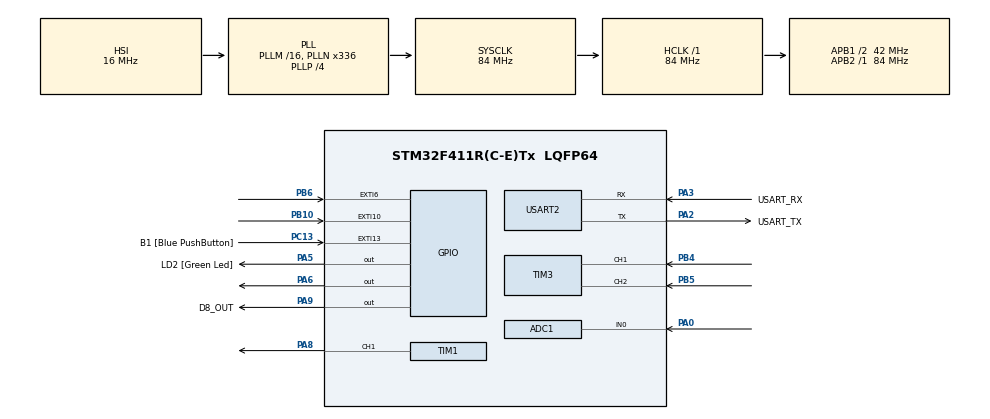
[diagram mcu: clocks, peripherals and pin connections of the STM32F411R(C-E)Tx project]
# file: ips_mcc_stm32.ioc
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ADC1.Channel-1\#ChannelRegularConversion=ADC_CHANNEL_0
ADC1.NbrOfConversionFlag=1
ADC1.Rank-1\#ChannelRegularConversion=1
ADC1.SamplingTime-1\#ChannelRegularConversion=ADC_SAMPLETIME_3CYCLES
ADC1.master=1
Mcu.Family=STM32F4
Mcu.Name=STM32F411R(C-E)Tx
Mcu.Package=LQFP64
NVIC.EXTI15_10_IRQn=true\:0\:0\:false\:false\:true\:true\:true\:true
NVIC.EXTI9_5_IRQn=true\:0\:0\:false\:false\:true\:true\:true\:true
NVIC.PriorityGroup=NVIC_PRIORITYGROUP_0
NVIC.TIM2_IRQn=true\:0\:0\:false\:false\:true\:true\:true\:true
NVIC.TIM4_IRQn=true\:0\:0\:false\:false\:true\:true\:true\:true
NVIC.USART2_IRQn=true\:0\:0\:false\:false\:true\:true\:true\:true
PA0-WKUP.Signal=ADCx_IN0
PA13.GPIO_Label=TMS
PA13.Mode=Serial_Wire
PA13.Signal=SYS_JTMS-SWDIO
PA14.GPIO_Label=TCK
PA14.Mode=Serial_Wire
PA14.Signal=SYS_JTCK-SWCLK
PA2.GPIO_Label=USART_TX
PA2.Mode=Asynchronous
PA2.Signal=USART2_TX
PA3.GPIO_Label=USART_RX
PA3.Mode=Asynchronous
PA3.Signal=USART2_RX
PA5.GPIO_Label=LD2 [Green Led]
PA5.Signal=GPIO_Output
PA6.Signal=GPIO_Output
PA8.Signal=S_TIM1_CH1
PA9.GPIO_Label=D8_OUT
PA9.Signal=GPIO_Output
PB10.GPIO_PuPd=GPIO_PULLUP
PB10.Signal=GPXTI10
PB3.GPIO_Label=SWO
PB3.Signal=SYS_JTDO-SWO
PB4.Signal=S_TIM3_CH1
PB5.Signal=S_TIM3_CH2
PB6.Signal=GPXTI6
PB7.Signal=S_TIM4_CH2
PC13-ANTI_TAMP.GPIO_Label=B1 [Blue PushButton]
PC13-ANTI_TAMP.GPIO_ModeDefaultEXTI=GPIO_MODE_IT_FALLING
PC13-ANTI_TAMP.Signal=GPXTI13
PC14-OSC32_IN.Mode=LSE-External-Oscillator
PC14-OSC32_IN.Signal=RCC_OSC32_IN
PC15-OSC32_OUT.Mode=LSE-External-Oscillator
PC15-OSC32_OUT.Signal=RCC_OSC32_OUT
PH0\ -\ OSC_IN.Mode=HSE-External-Clock-Source
PH0\ -\ OSC_IN.Signal=RCC_OSC_IN
PH1\ -\ OSC_OUT.Mode=HSE-External-Clock-Source
PH1\ -\ OSC_OUT.Signal=RCC_OSC_OUT
ProjectManager.HeapSize=0x200
ProjectManager.StackSize=0x400
ProjectManager.TargetToolchain=STM32CubeIDE
RCC.48MHZClocksFreq_Value=84000000
RCC.AHBFreq_Value=84000000
RCC.APB1CLKDivider=RCC_HCLK_DIV2
RCC.APB1Freq_Value=42000000
RCC.APB1TimFreq_Value=84000000
RCC.APB2Freq_Value=84000000
RCC.APB2TimFreq_Value=84000000
RCC.CortexFreq_Value=84000000
RCC.FLatency-AdvancedSettings=FLASH_LATENCY_2
RCC.HCLKFreq_Value=84000000
RCC.HSE_VALUE=8000000
RCC.HSI_VALUE=16000000
RCC.PLLN=336
RCC.PLLP=RCC_PLLP_DIV4
RCC.SYSCLKFreq_VALUE=84000000
RCC.SYSCLKSource=RCC_SYSCLKSOURCE_PLLCLK
RCC.VCOOutputFreq_Value=336000000
SH.ADCx_IN0.0=ADC1_IN0,IN0
SH.S_TIM1_CH1.0=TIM1_CH1,PWM Generation1 CH1
SH.S_TIM3_CH1.0=TIM3_CH1,Encoder_Interface
SH.S_TIM3_CH2.0=TIM3_CH2,Encoder_Interface
SH.S_TIM4_CH2.0=TIM4_CH2
TIM1.Channel-PWM\ Generation1\ CH1=TIM_CHANNEL_1
TIM1.Period=99
TIM1.Prescaler=41
TIM2.Period=9999
TIM2.Prescaler=8399
TIM3.EncoderMode=TIM_ENCODERMODE_TI12
TIM4.Period=9999
TIM4.Prescaler=83
USART2.VirtualMode=VM_ASYNC
VP_TIM1_VS_ClockSourceINT.Mode=Internal
VP_TIM2_VS_ClockSourceINT.Mode=Internal
VP_TIM4_VS_ClockSourceINT.Mode=Internal
board=NUCLEO-F411RE

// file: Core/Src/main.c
/* USER CODE BEGIN Header */
/**
 ******************************************************************************
 * @file           : main.c
 * @brief          : Main program body (Projeto MCC - Malha Aberta + Break)
 ******************************************************************************
 */
/* USER CODE END Header */
#include "main.h"

/* USER CODE BEGIN Includes */
#include <stdio.h>
#include <string.h>
#include <stdlib.h>
#include <math.h>
/* USER CODE END Includes */

ADC_HandleTypeDef hadc1;

TIM_HandleTypeDef htim1;
TIM_HandleTypeDef htim2;
TIM_HandleTypeDef htim3;
TIM_HandleTypeDef htim4;

UART_HandleTypeDef huart2;

/* USER CODE BEGIN PV */
// Data transmission variables
uint32_t tempo_ms = 0;

// ADC and current
uint32_t adc_value = 0;
float adc_voltage = 0.0f;
float corrente_A = 0.0f;
float corrente_filtrada = 0.0f;  // After the filter

// Encoder and speed
int16_t count_encoder = 0;
float velocidade_rpm = 0.0f;

// UART reception variables
uint8_t rx_data;
char rx_buffer[20];
uint8_t rx_index = 0;

// Open loop target variable
volatile int pwm_target = 0;

// PI Control variables (Closed loop)
volatile uint8_t modo_malha_fechada = 0; // 0 = Open Loop, 1 = PI Active
volatile float meta_rpm_pid = 0.0f;      // Target RPM
volatile float erro_acumulado = 0.0f;    // Integral action memory

// PI Controller gains
float Kp = 0.006f;
float Ki = 0.0006f;

// ==========================================================

// Flag to trigger UART transmission outside ISR
volatile uint8_t flag_enviar_dados = 0;

// Flag to handle emergency break state
volatile uint8_t flag_freio_acionado = 0;

volatile uint32_t voltas_completas = 0;
volatile uint32_t tempo_ultima_volta = 0;
volatile float rpm_pelo_canal_i = 0.0f;
/* USER CODE END PV */

void SystemClock_Config(void);
static void MX_GPIO_Init(void);
static void MX_USART2_UART_Init(void);
static void MX_ADC1_Init(void);
static void MX_TIM2_Init(void);
static void MX_TIM3_Init(void);
static void MX_TIM1_Init(void);
static void MX_TIM4_Init(void);

int main(void) {

	/* MCU Configuration--------------------------------------------------------*/

	/* Reset of all peripherals, Initializes the Flash interface and the Systick. */
	HAL_Init();

	/* Configure the system clock */
	SystemClock_Config();

	/* Initialize all configured peripherals */
	MX_GPIO_Init();
	MX_USART2_UART_Init();
	MX_ADC1_Init();
	MX_TIM2_Init();
	MX_TIM3_Init();
	MX_TIM1_Init();
	MX_TIM4_Init();
	/* USER CODE BEGIN 2 */

	// 1. Start UART reception via interrupt (1 byte)
	HAL_UART_Receive_IT(&huart2, &rx_data, 1);

	// 2. Start timebase timers
	HAL_TIM_Base_Start_IT(&htim2); // 1s
	HAL_TIM_Base_Start_IT(&htim4); // 10ms loop

	// 3. Start Encoder (TIM3)
	HAL_TIM_Encoder_Start(&htim3, TIM_CHANNEL_ALL);
	__HAL_TIM_SET_COUNTER(&htim3, 0);

	// 4. Start PWM for motor chopper (TIM1)
	HAL_TIM_PWM_Start(&htim1, TIM_CHANNEL_1);
	__HAL_TIM_SET_COMPARE(&htim1, TIM_CHANNEL_1, 0);
	__HAL_TIM_MOE_ENABLE(&htim1);

	/* USER CODE END 2 */

	/* Infinite loop */
	/* USER CODE BEGIN WHILE */
	while (1) {

		// Tasks handled outside ISR
		if (flag_enviar_dados == 1) {
			flag_enviar_dados = 0;

			static char msg_buffer[60];

			// Convert current to mA
			int corrente_mA = (int) (corrente_filtrada * 1000.0f);

			// 4:1 mechanical reduction ratio
			int rpm_volante_display = (int) (velocidade_rpm / 4.0f);
			int rpm_index_volante_display = (int) (rpm_pelo_canal_i / 4.0f);

			// Data format: tempo_ms, rpm_A_B, corrente_mA, voltas_completas, rpm_I
			int len = sprintf(msg_buffer, "%lu,%d,%d,%lu,%d\n", tempo_ms,
					(int) rpm_volante_display, corrente_mA, voltas_completas,
					(int) rpm_index_volante_display);

			HAL_UART_Transmit(&huart2, (uint8_t*) msg_buffer, len, 10);
		}

		/* USER CODE END WHILE */

	}
}

void SystemClock_Config(void) {
	RCC_OscInitTypeDef RCC_OscInitStruct = { 0 };
	RCC_ClkInitTypeDef RCC_ClkInitStruct = { 0 };

	/** Configure the main internal regulator output voltage
	 */
	__HAL_RCC_PWR_CLK_ENABLE();
	__HAL_PWR_VOLTAGESCALING_CONFIG(PWR_REGULATOR_VOLTAGE_SCALE1);

	/** Initializes the RCC Oscillators according to the specified parameters
	 * in the RCC_OscInitTypeDef structure.
	 */
	RCC_OscInitStruct.OscillatorType = RCC_OSCILLATORTYPE_HSI;
	RCC_OscInitStruct.HSIState = RCC_HSI_ON;
	RCC_OscInitStruct.HSICalibrationValue = RCC_HSICALIBRATION_DEFAULT;
	RCC_OscInitStruct.PLL.PLLState = RCC_PLL_ON;
	RCC_OscInitStruct.PLL.PLLSource = RCC_PLLSOURCE_HSI;
	RCC_OscInitStruct.PLL.PLLM = 16;
	RCC_OscInitStruct.PLL.PLLN = 336;
	RCC_OscInitStruct.PLL.PLLP = RCC_PLLP_DIV4;
	RCC_OscInitStruct.PLL.PLLQ = 4;
	if (HAL_RCC_OscConfig(&RCC_OscInitStruct) != HAL_OK) {
		Error_Handler();
	}

	/** Initializes the CPU, AHB and APB buses clocks
	 */
	RCC_ClkInitStruct.ClockType = RCC_CLOCKTYPE_HCLK | RCC_CLOCKTYPE_SYSCLK
			| RCC_CLOCKTYPE_PCLK1 | RCC_CLOCKTYPE_PCLK2;
	RCC_ClkInitStruct.SYSCLKSource = RCC_SYSCLKSOURCE_PLLCLK;
	RCC_ClkInitStruct.AHBCLKDivider = RCC_SYSCLK_DIV1;
	RCC_ClkInitStruct.APB1CLKDivider = RCC_HCLK_DIV2;
	RCC_ClkInitStruct.APB2CLKDivider = RCC_HCLK_DIV1;

	if (HAL_RCC_ClockConfig(&RCC_ClkInitStruct, FLASH_LATENCY_2) != HAL_OK) {
		Error_Handler();
	}
}

static void MX_ADC1_Init(void) {

	ADC_ChannelConfTypeDef sConfig = { 0 };

	/** Configure the global features of the ADC (Clock, Resolution, Data Alignment and number of conversion)
	 */
	hadc1.Instance = ADC1;
	hadc1.Init.ClockPrescaler = ADC_CLOCK_SYNC_PCLK_DIV4;
	hadc1.Init.Resolution = ADC_RESOLUTION_12B;
	hadc1.Init.ScanConvMode = DISABLE;
	hadc1.Init.ContinuousConvMode = DISABLE;
	hadc1.Init.DiscontinuousConvMode = DISABLE;
	hadc1.Init.ExternalTrigConvEdge = ADC_EXTERNALTRIGCONVEDGE_NONE;
	hadc1.Init.ExternalTrigConv = ADC_SOFTWARE_START;
	hadc1.Init.DataAlign = ADC_DATAALIGN_RIGHT;
	hadc1.Init.NbrOfConversion = 1;
	hadc1.Init.DMAContinuousRequests = DISABLE;
	hadc1.Init.EOCSelection = ADC_EOC_SINGLE_CONV;
	if (HAL_ADC_Init(&hadc1) != HAL_OK) {
		Error_Handler();
	}

	/** Configure for the selected ADC regular channel its corresponding rank in the sequencer and its sample time.
	 */
	sConfig.Channel = ADC_CHANNEL_0;
	sConfig.Rank = 1;
	sConfig.SamplingTime = ADC_SAMPLETIME_3CYCLES;
	if (HAL_ADC_ConfigChannel(&hadc1, &sConfig) != HAL_OK) {
		Error_Handler();
	}

}

static void MX_TIM1_Init(void) {

	TIM_ClockConfigTypeDef sClockSourceConfig = { 0 };
	TIM_MasterConfigTypeDef sMasterConfig = { 0 };
	TIM_OC_InitTypeDef sConfigOC = { 0 };
	TIM_BreakDeadTimeConfigTypeDef sBreakDeadTimeConfig = { 0 };

	htim1.Instance = TIM1;
	htim1.Init.Prescaler = 41;
	htim1.Init.CounterMode = TIM_COUNTERMODE_UP;
	htim1.Init.Period = 99;
	htim1.Init.ClockDivision = TIM_CLOCKDIVISION_DIV1;
	htim1.Init.RepetitionCounter = 0;
	htim1.Init.AutoReloadPreload = TIM_AUTORELOAD_PRELOAD_DISABLE;
	if (HAL_TIM_Base_Init(&htim1) != HAL_OK) {
		Error_Handler();
	}
	sClockSourceConfig.ClockSource = TIM_CLOCKSOURCE_INTERNAL;
	if (HAL_TIM_ConfigClockSource(&htim1, &sClockSourceConfig) != HAL_OK) {
		Error_Handler();
	}
	if (HAL_TIM_PWM_Init(&htim1) != HAL_OK) {
		Error_Handler();
	}
	sMasterConfig.MasterOutputTrigger = TIM_TRGO_RESET;
	sMasterConfig.MasterSlaveMode = TIM_MASTERSLAVEMODE_DISABLE;
	if (HAL_TIMEx_MasterConfigSynchronization(&htim1, &sMasterConfig)
			!= HAL_OK) {
		Error_Handler();
	}
	sConfigOC.OCMode = TIM_OCMODE_PWM1;
	sConfigOC.Pulse = 0;
	sConfigOC.OCPolarity = TIM_OCPOLARITY_HIGH;
	sConfigOC.OCNPolarity = TIM_OCNPOLARITY_HIGH;
	sConfigOC.OCFastMode = TIM_OCFAST_DISABLE;
	sConfigOC.OCIdleState = TIM_OCIDLESTATE_RESET;
	sConfigOC.OCNIdleState = TIM_OCNIDLESTATE_RESET;
	if (HAL_TIM_PWM_ConfigChannel(&htim1, &sConfigOC, TIM_CHANNEL_1)
			!= HAL_OK) {
		Error_Handler();
	}
	sBreakDeadTimeConfig.OffStateRunMode = TIM_OSSR_DISABLE;
	sBreakDeadTimeConfig.OffStateIDLEMode = TIM_OSSI_DISABLE;
	sBreakDeadTimeConfig.LockLevel = TIM_LOCKLEVEL_OFF;
	sBreakDeadTimeConfig.DeadTime = 0;
	sBreakDeadTimeConfig.BreakState = TIM_BREAK_DISABLE;
	sBreakDeadTimeConfig.BreakPolarity = TIM_BREAKPOLARITY_HIGH;
	sBreakDeadTimeConfig.AutomaticOutput = TIM_AUTOMATICOUTPUT_DISABLE;
	if (HAL_TIMEx_ConfigBreakDeadTime(&htim1, &sBreakDeadTimeConfig)
			!= HAL_OK) {
		Error_Handler();
	}
	HAL_TIM_MspPostInit(&htim1);

}

static void MX_TIM2_Init(void) {

	TIM_ClockConfigTypeDef sClockSourceConfig = { 0 };
	TIM_MasterConfigTypeDef sMasterConfig = { 0 };

	htim2.Instance = TIM2;
	htim2.Init.Prescaler = 8399;
	htim2.Init.CounterMode = TIM_COUNTERMODE_UP;
	htim2.Init.Period = 9999;
	htim2.Init.ClockDivision = TIM_CLOCKDIVISION_DIV1;
	htim2.Init.AutoReloadPreload = TIM_AUTORELOAD_PRELOAD_DISABLE;
	if (HAL_TIM_Base_Init(&htim2) != HAL_OK) {
		Error_Handler();
	}
	sClockSourceConfig.ClockSource = TIM_CLOCKSOURCE_INTERNAL;
	if (HAL_TIM_ConfigClockSource(&htim2, &sClockSourceConfig) != HAL_OK) {
		Error_Handler();
	}
	sMasterConfig.MasterOutputTrigger = TIM_TRGO_RESET;
	sMasterConfig.MasterSlaveMode = TIM_MASTERSLAVEMODE_DISABLE;
	if (HAL_TIMEx_MasterConfigSynchronization(&htim2, &sMasterConfig)
			!= HAL_OK) {
		Error_Handler();
	}

}

static void MX_TIM3_Init(void) {

	TIM_Encoder_InitTypeDef sConfig = { 0 };
	TIM_MasterConfigTypeDef sMasterConfig = { 0 };

	htim3.Instance = TIM3;
	htim3.Init.Prescaler = 0;
	htim3.Init.CounterMode = TIM_COUNTERMODE_UP;
	htim3.Init.Period = 65535;
	htim3.Init.ClockDivision = TIM_CLOCKDIVISION_DIV1;
	htim3.Init.AutoReloadPreload = TIM_AUTORELOAD_PRELOAD_DISABLE;
	sConfig.EncoderMode = TIM_ENCODERMODE_TI12;
	sConfig.IC1Polarity = TIM_ICPOLARITY_RISING;
	sConfig.IC1Selection = TIM_ICSELECTION_DIRECTTI;
	sConfig.IC1Prescaler = TIM_ICPSC_DIV1;
	sConfig.IC1Filter = 0;
	sConfig.IC2Polarity = TIM_ICPOLARITY_RISING;
	sConfig.IC2Selection = TIM_ICSELECTION_DIRECTTI;
	sConfig.IC2Prescaler = TIM_ICPSC_DIV1;
	sConfig.IC2Filter = 0;
	if (HAL_TIM_Encoder_Init(&htim3, &sConfig) != HAL_OK) {
		Error_Handler();
	}
	sMasterConfig.MasterOutputTrigger = TIM_TRGO_RESET;
	sMasterConfig.MasterSlaveMode = TIM_MASTERSLAVEMODE_DISABLE;
	if (HAL_TIMEx_MasterConfigSynchronization(&htim3, &sMasterConfig)
			!= HAL_OK) {
		Error_Handler();
	}

}

static void MX_TIM4_Init(void) {

	TIM_ClockConfigTypeDef sClockSourceConfig = { 0 };
	TIM_MasterConfigTypeDef sMasterConfig = { 0 };

	htim4.Instance = TIM4;
	htim4.Init.Prescaler = 83;
	htim4.Init.CounterMode = TIM_COUNTERMODE_UP;
	htim4.Init.Period = 9999;
	htim4.Init.ClockDivision = TIM_CLOCKDIVISION_DIV1;
	htim4.Init.AutoReloadPreload = TIM_AUTORELOAD_PRELOAD_DISABLE;
	if (HAL_TIM_Base_Init(&htim4) != HAL_OK) {
		Error_Handler();
	}
	sClockSourceConfig.ClockSource = TIM_CLOCKSOURCE_INTERNAL;
	if (HAL_TIM_ConfigClockSource(&htim4, &sClockSourceConfig) != HAL_OK) {
		Error_Handler();
	}
	sMasterConfig.MasterOutputTrigger = TIM_TRGO_RESET;
	sMasterConfig.MasterSlaveMode = TIM_MASTERSLAVEMODE_DISABLE;
	if (HAL_TIMEx_MasterConfigSynchronization(&htim4, &sMasterConfig)
			!= HAL_OK) {
		Error_Handler();
	}

}

static void MX_USART2_UART_Init(void) {

	huart2.Instance = USART2;
	huart2.Init.BaudRate = 115200;
	huart2.Init.WordLength = UART_WORDLENGTH_8B;
	huart2.Init.StopBits = UART_STOPBITS_1;
	huart2.Init.Parity = UART_PARITY_NONE;
	huart2.Init.Mode = UART_MODE_TX_RX;
	huart2.Init.HwFlowCtl = UART_HWCONTROL_NONE;
	huart2.Init.OverSampling = UART_OVERSAMPLING_16;
	if (HAL_UART_Init(&huart2) != HAL_OK) {
		Error_Handler();
	}

}

static void MX_GPIO_Init(void) {
	GPIO_InitTypeDef GPIO_InitStruct = { 0 };

	/* GPIO Ports Clock Enable */
	__HAL_RCC_GPIOC_CLK_ENABLE();
	__HAL_RCC_GPIOH_CLK_ENABLE();
	__HAL_RCC_GPIOA_CLK_ENABLE();
	__HAL_RCC_GPIOB_CLK_ENABLE();

	/*Configure GPIO pin Output Level */
	HAL_GPIO_WritePin(GPIOA, LD2_Pin | GPIO_PIN_6 | D8_OUT_Pin, GPIO_PIN_RESET);

	/*Configure GPIO pin : B1_Pin */
	GPIO_InitStruct.Pin = B1_Pin;
	GPIO_InitStruct.Mode = GPIO_MODE_IT_FALLING;
	GPIO_InitStruct.Pull = GPIO_NOPULL;
	HAL_GPIO_Init(B1_GPIO_Port, &GPIO_InitStruct);

	/*Configure GPIO pins : LD2_Pin PA6 D8_OUT_Pin */
	GPIO_InitStruct.Pin = LD2_Pin | GPIO_PIN_6 | D8_OUT_Pin;
	GPIO_InitStruct.Mode = GPIO_MODE_OUTPUT_PP;
	GPIO_InitStruct.Pull = GPIO_NOPULL;
	GPIO_InitStruct.Speed = GPIO_SPEED_FREQ_LOW;
	HAL_GPIO_Init(GPIOA, &GPIO_InitStruct);

	/*Configure GPIO pin : PB10 */
	GPIO_InitStruct.Pin = GPIO_PIN_10;
	GPIO_InitStruct.Mode = GPIO_MODE_IT_RISING;
	GPIO_InitStruct.Pull = GPIO_PULLUP;
	HAL_GPIO_Init(GPIOB, &GPIO_InitStruct);

	/*Configure GPIO pin : PB6 */
	GPIO_InitStruct.Pin = GPIO_PIN_6;
	GPIO_InitStruct.Mode = GPIO_MODE_IT_RISING;
	GPIO_InitStruct.Pull = GPIO_NOPULL;
	HAL_GPIO_Init(GPIOB, &GPIO_InitStruct);

	/* EXTI interrupt init*/
	HAL_NVIC_SetPriority(EXTI9_5_IRQn, 0, 0);
	HAL_NVIC_EnableIRQ(EXTI9_5_IRQn);

	HAL_NVIC_SetPriority(EXTI15_10_IRQn, 0, 0);
	HAL_NVIC_EnableIRQ(EXTI15_10_IRQn);

}

/* USER CODE BEGIN 4 */
// Timer interrupts (Executes every 10ms for TIM4)
void HAL_TIM_PeriodElapsedCallback(TIM_HandleTypeDef *htim) {

	if (htim->Instance == TIM2) {
		if (flag_freio_acionado == 0) {
			HAL_GPIO_TogglePin(GPIOA, LD2_Pin);
		}
	} else if (htim->Instance == TIM4) {
		// Increment time
		tempo_ms += 10;

		// --- A. Read Encoder speed ---
		count_encoder = (int16_t) __HAL_TIM_GET_COUNTER(&htim3);
		__HAL_TIM_SET_COUNTER(&htim3, 0);
		velocidade_rpm = ((float) count_encoder * 6000.0f) / 2000;

		// --- B. Read Current (ADC) ---
		HAL_ADC_Start(&hadc1);
		if (HAL_ADC_PollForConversion(&hadc1, 1) == HAL_OK) {
			adc_value = HAL_ADC_GetValue(&hadc1);

			// Convert digital value to Volts (3.3V logic)
			adc_voltage = ((float) adc_value * 3.3f) / 4095.0f;

			// Convert Volts to Amperes
			corrente_A = (adc_voltage / 35.5) / 0.05;

			// Low-pass filter for PWM noise
			corrente_filtrada = (0.3f * corrente_A)
					+ (0.7f * corrente_filtrada);
		}
		HAL_ADC_Stop(&hadc1);

		// --- C. Power Control (Open or Closed Loop) ---
		if (modo_malha_fechada == 1 && flag_freio_acionado == 0) {

			// Calculate speed error
			float erro_rpm = meta_rpm_pid - fabs(velocidade_rpm);

			// Accumulate error for integral action
			if (meta_rpm_pid == 0.0f) {
				erro_acumulado = 0.0f;
			} else {
				erro_acumulado += erro_rpm;
			}

			// Anti-windup protection
			float teto_windup = 99.0f / Ki;
			if (erro_acumulado > teto_windup) {
				erro_acumulado = teto_windup;
			} else if (erro_acumulado < -teto_windup) {
				erro_acumulado = -teto_windup;
			}

			// PI Control equation
			float pwm_calculado = (Kp * erro_rpm) + (Ki * erro_acumulado);

			// Dynamic safe braking (Minimum PWM to avoid regenerative overcurrent)
			float pwm_minimo_seguro = 0.0266f * fabs(velocidade_rpm);

			pwm_minimo_seguro -= 10.0f;
			if (pwm_minimo_seguro < 0.0f)
				pwm_minimo_seguro = 0.0f;

			// Apply dynamic saturation
			if (pwm_calculado > 99.0f) {
				pwm_calculado = 99.0f;
			} else if (pwm_calculado < pwm_minimo_seguro) {
				pwm_calculado = pwm_minimo_seguro;

				// Update PI memory to prevent windup against dynamic limits
				erro_acumulado = (pwm_calculado - (Kp * erro_rpm)) / Ki;
			}

			// Apply safe PWM to driver
			__HAL_TIM_SET_COMPARE(&htim1, TIM_CHANNEL_1, (int )pwm_calculado);
		} else {
			// Open loop or Emergency Break active
			if (flag_freio_acionado == 1) {
				// Force PWM to 0 if break is active
				__HAL_TIM_SET_COMPARE(&htim1, TIM_CHANNEL_1, 0);
			} else {
				// Normal open loop behavior
				__HAL_TIM_SET_COMPARE(&htim1, TIM_CHANNEL_1, pwm_target);
			}
		}

		// Channel I Timeout (Reset RPM if motor stopped)
		uint32_t tempo_agora = HAL_GetTick();
		// Reset index RPM if no pulses received for 250ms
		if ((tempo_agora - tempo_ultima_volta) > 250) {
			rpm_pelo_canal_i = 0.0f;
		}

		// D. Set data transmission flag
		flag_enviar_dados = 1;
	}
}

// UART Reception Interrupt (Commands from Qt)
void HAL_UART_RxCpltCallback(UART_HandleTypeDef *huart) {

	if (huart->Instance == USART2) {

		if (rx_data == '\n' || rx_data == '\r') {
			rx_buffer[rx_index] = '\0';

			// Parse 'P' for PWM target (Open Loop)
			char *p_ptr = strchr((char*) rx_buffer, 'P');
			if (p_ptr) {
				modo_malha_fechada = 0;
				pwm_target = atoi(p_ptr + 1);

				if (pwm_target < 0)
					pwm_target = 0;
				if (pwm_target > 99)
					pwm_target = 99;
			}

			// Parse 'V' for Speed target (Closed Loop)
			char *v_ptr = strchr((char*) rx_buffer, 'V');
			if (v_ptr) {
				modo_malha_fechada = 1;
				float meta_volante = (float) atoi(v_ptr + 1);
				meta_rpm_pid = meta_volante * 4.0f * (10.0f/11.0f);
			}

			// Parse 'S' for motor direction
			char *s_ptr = strchr((char*) rx_buffer, 'S');
			if (s_ptr) {
				int sentido = atoi(s_ptr + 1);
				if (sentido == 1) {
					// PA9 Pin
					HAL_GPIO_WritePin(GPIOA, GPIO_PIN_9, GPIO_PIN_SET);
				} else {
					HAL_GPIO_WritePin(GPIOA, GPIO_PIN_9, GPIO_PIN_RESET);
				}
			}

			// Parse 'B' for emergency break
			char *b_ptr = strchr((char*) rx_buffer, 'B');
			if (b_ptr) {
				int freio = atoi(b_ptr + 1);
				if (freio == 1) {
					HAL_GPIO_WritePin(GPIOA, GPIO_PIN_6, GPIO_PIN_SET);
					__HAL_TIM_SET_COMPARE(&htim1, TIM_CHANNEL_1, 0);

					pwm_target = 0;
					meta_rpm_pid = 0.0f;
					erro_acumulado = 0.0f; // Reset integral action

					flag_freio_acionado = 1;
					HAL_GPIO_WritePin(GPIOA, LD2_Pin, GPIO_PIN_SET);
				} else {
					HAL_GPIO_WritePin(GPIOA, GPIO_PIN_6, GPIO_PIN_RESET);
					flag_freio_acionado = 0;
				}
			}

			rx_index = 0;
		} else {
			if (rx_index < 19) {
				rx_buffer[rx_index++] = rx_data;
			}
		}

		// Reactivate UART interrupt
		HAL_UART_Receive_IT(&huart2, &rx_data, 1);
	}
}

void HAL_UART_ErrorCallback(UART_HandleTypeDef *huart) {
	if (huart->Instance == USART2) {
		// Clear Overrun error flag
		__HAL_UART_CLEAR_OREFLAG(huart);
		// Force UART to resume listening
		HAL_UART_Receive_IT(&huart2, &rx_data, 1);
	}
}

/* USER CODE BEGIN 4 */
void HAL_GPIO_EXTI_Callback(uint16_t GPIO_Pin) {
	if (GPIO_Pin == GPIO_PIN_6) // PB10 Pin (Channel I)
	{
		voltas_completas++;

		// RPM calculation via Channel I (Index)
		uint32_t tempo_atual = HAL_GetTick(); // Read internal tick (ms)
		uint32_t delta_t = tempo_atual - tempo_ultima_volta;

		// Prevent division by zero
		if (delta_t > 10) {
			// RPM formula
			rpm_pelo_canal_i = 60000.0f / (float) delta_t;
		}

		tempo_ultima_volta = tempo_atual; // Save timestamp for next rotation
	}
}

/* USER CODE END 4 */

void Error_Handler(void) {
	__disable_irq();
	while (1) {
	}
}
